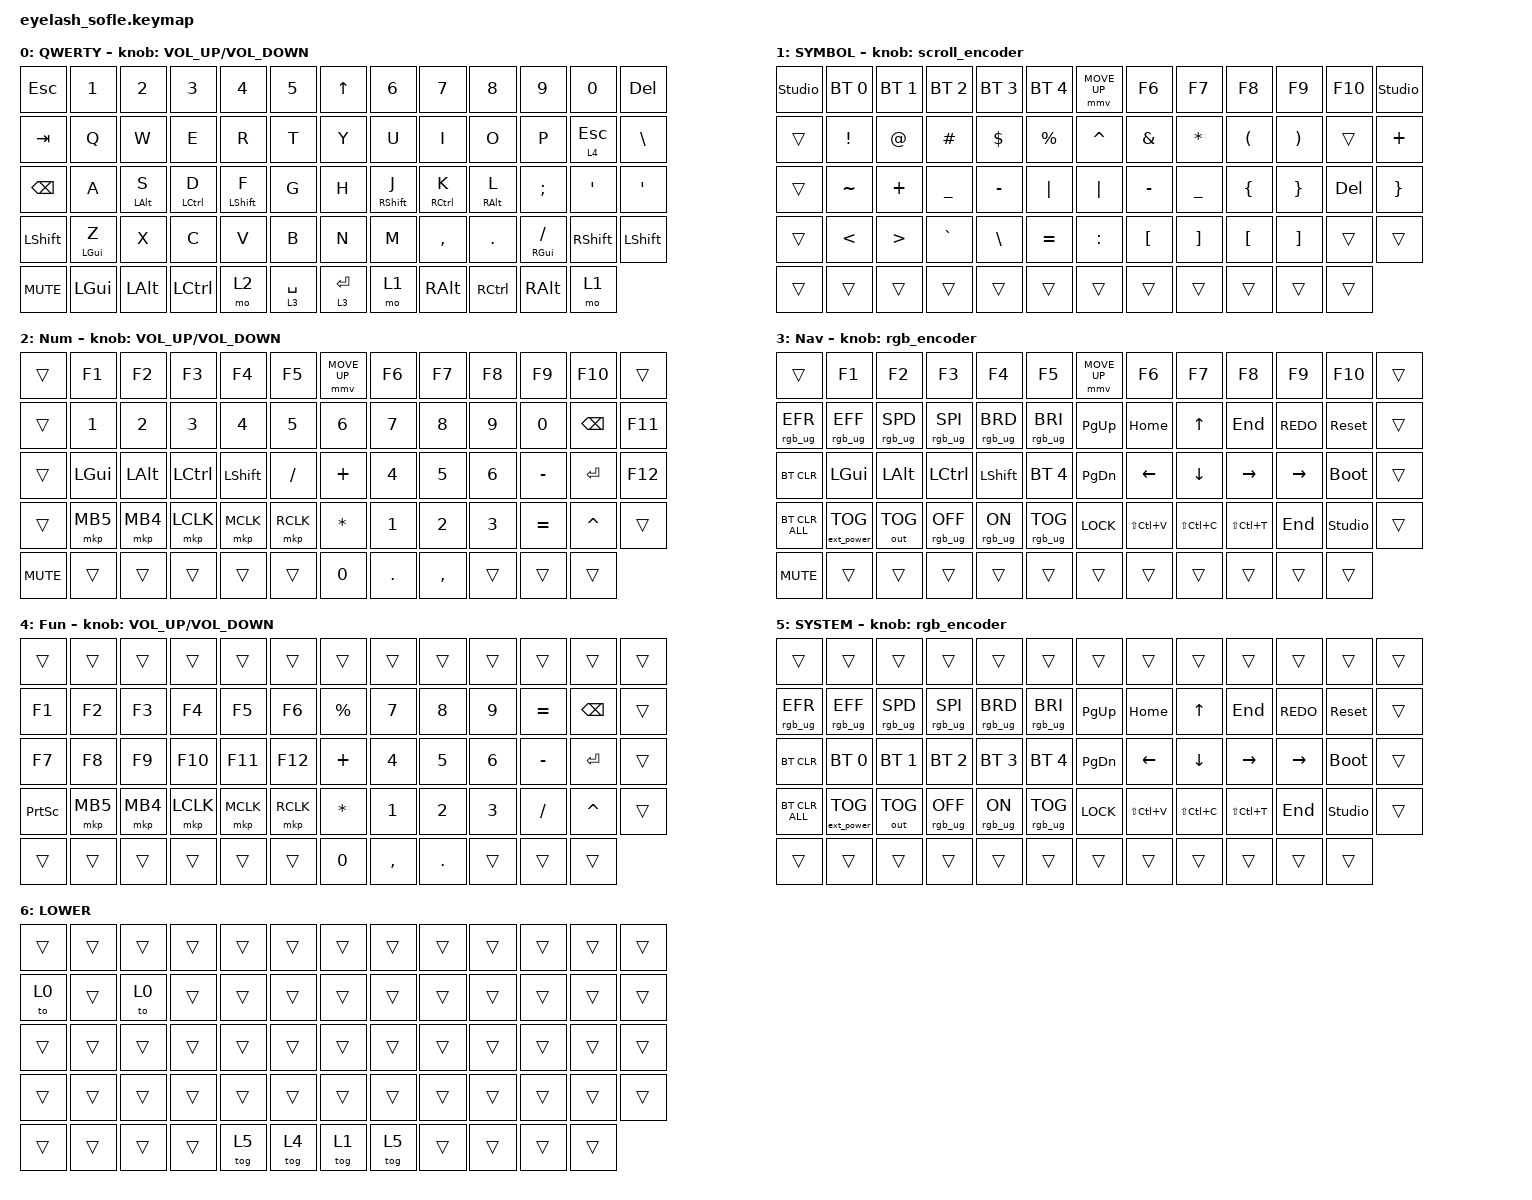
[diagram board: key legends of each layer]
#include <input/processors.dtsi>
#include <behaviors.dtsi>
#include <dt-bindings/zmk/bt.h>
#include <dt-bindings/zmk/ext_power.h>
#include <dt-bindings/zmk/keys.h>
#include <dt-bindings/zmk/outputs.h>
#include <dt-bindings/zmk/pointing.h>
#include <dt-bindings/zmk/rgb.h>

/*

   &mmv_input_listener {
       input-processors = <&zip_xy_scaler 2 1>;
   };

   &msc_input_listener {
       input-processors = <&zip_xy_scaler 2 1>;
   };

 */

/* pointing.h already defines these; undef first to avoid a redefinition warning */
#undef ZMK_POINTING_DEFAULT_MOVE_VAL
#undef ZMK_POINTING_DEFAULT_SCRL_VAL

#define ZMK_POINTING_DEFAULT_MOVE_VAL 1200  // 600
#define ZMK_POINTING_DEFAULT_SCRL_VAL 20    // 10

/ {
    conditional_layers {
        compatible = "zmk,conditional-layers";

        system_layer {
            // Num + symbol held together -> system
            if-layers = <2 1>;
            then-layer = <5>;
        };
    };

    behaviors {
        td0: td0 {
            compatible = "zmk,behavior-tap-dance";
            display-name = "Shift/Caps Lock Tap Dance";
            #binding-cells = <0>;
            bindings = <&kp LEFT_SHIFT>, <&kp CAPS>;
        };

        hrm_left: hrm_left {
            compatible = "zmk,behavior-hold-tap";
            label = "HRM_LEFT";
            bindings = <&kp>, <&kp>;

            #binding-cells = <2>;
            flavor = "balanced";
            tapping-term-ms = <280>;
            quick-tap-ms = <175>;
            require-prior-idle-ms = <175>;
            hold-trigger-on-release;
            hold-trigger-key-positions = <19 20 21 22 23 24 32 33 34 35 36 37 45 46 47 48 49 50 55 56 57 58 59 60>;
        };

        hrm_right: hrm_right {
            compatible = "zmk,behavior-hold-tap";
            label = "HRM_RIGHT";
            bindings = <&kp>, <&kp>;

            #binding-cells = <2>;
            flavor = "balanced";
            tapping-term-ms = <280>;
            quick-tap-ms = <175>;
            require-prior-idle-ms = <175>;
            hold-trigger-on-release;
            hold-trigger-key-positions = <13 14 15 16 17 18 26 27 28 29 30 31 39 40 41 42 43 44 55 56 57 58 59 60>;
        };

        layer_tap: layer_tap {
            compatible = "zmk,behavior-hold-tap";
            label = "LAYER_TAP";
            bindings = <&mo>, <&kp>;

            #binding-cells = <2>;
            quick-tap-ms = <175>;
            flavor = "tap-preferred";
            tapping-term-ms = <280>;
        };
    };

    rgb_encoder: rgb_encoder {
        compatible = "zmk,behavior-sensor-rotate";
        #sensor-binding-cells = <0>;
        bindings = <&rgb_ug RGB_BRI>, <&rgb_ug RGB_BRD>;
    };

    scroll_encoder: scroll_encoder {
        compatible = "zmk,behavior-sensor-rotate";
        #sensor-binding-cells = <0>;
        bindings = <&msc SCRL_DOWN>, <&msc SCRL_UP>;

        tap-ms = <30>;
    };

    combos {
        compatible = "zmk,combos";

        combo_lbrc {
            timeout-ms = <50>;
            key-positions = <4 5>; // KP: VB
            bindings = <&mt RBRC LBRC>;
            layers = <0 1 2 3 4 5>;
        };

        combo_rbrc {
            timeout-ms = <50>;
            key-positions = <6 7>; // KP: NM
            bindings = <&kp RBRC>;
            layers = <0 1 2 3 4 5>;
        };

        combo_lpar {
            timeout-ms = <50>;
            key-positions = <16 17>; // KP: FG
            bindings = <&mt RPAR LPAR>;
            layers = <0 1 2 3 4 5>;
        };

        combo_rpar {
            timeout-ms = <50>;
            key-positions = <18 19>;
            bindings = <&kp RPAR>;
            layers = <0 1 2 3 4 5>;
        };

        combo_lbkt {
            timeout-ms = <50>;
            key-positions = <28 29>; // KP: RT
            bindings = <&mt RBKT LBKT>;
            layers = <0 1 2 3 4 5>;
        };

        combo_rbkt {
            timeout-ms = <50>;
            key-positions = <30 31>; // KP: YU
            bindings = <&kp RBKT>;
            layers = <0 1 2 3 4 5>;
        };

        esc {
            timeout-ms = <50>;
            key-positions = <0 1>;
            bindings = <&kp ESC>; // ESC
            layers = <0>;
        };

        up {
            bindings = <&kp UP>;
            key-positions = <3 4>;
            layers = <0>;
            timeout-ms = <50>;
        };

        down {
            bindings = <&kp DOWN>;
            key-positions = <27 28>;
            timeout-ms = <50>;
            layers = <0>;
        };

        left {
            bindings = <&kp LEFT>;
            key-positions = <14 15>;
            layers = <0>;
            timeout-ms = <50>;
        };

        right {
            bindings = <&kp RIGHT>;
            key-positions = <15 16>;
            layers = <0>;
            timeout-ms = <50>;
        };
    };

    keymap {
        compatible = "zmk,keymap";

        qwerty {
            display-name = "QWERTY";
            bindings = <
  &kp ESC  &kp N1  &kp N2  &kp N3  &kp N4  &kp N5  &kp UP_ARROW  &kp N6  &kp N7  &kp N8  &kp N9  &kp N0  &kp DELETE
  &kp TAB  &kp Q  &kp W  &kp E  &kp R  &kp T  &kp Y  &kp U  &kp I  &kp O  &kp P  &lt 4 ESC  &kp BSLH
  &kp BACKSPACE  &kp A  &hrm_left LALT S  &hrm_left LCTRL D  &hrm_left LSHFT F  &kp G  &kp H  &hrm_right RSHFT J  &hrm_right RCTRL K  &hrm_right RALT L  &kp SEMICOLON  &kp SQT  &kp APOS
  &kp LEFT_SHIFT  &hrm_left LEFT_GUI Z  &kp X  &kp C  &kp V  &kp B  &kp N  &kp M  &kp COMMA  &kp DOT  &hrm_right RIGHT_GUI SLASH  &kp RIGHT_SHIFT  &kp LEFT_SHIFT
  &kp C_MUTE  &kp LEFT_GUI  &kp LEFT_ALT  &kp LEFT_CONTROL  &mo 2  &layer_tap 3 SPACE  &layer_tap 3 ENTER  &mo 1  &kp RIGHT_ALT  &kp RIGHT_CONTROL  &kp RIGHT_ALT  &mo 1
            >;
            sensor-bindings = <&inc_dec_kp C_VOLUME_UP C_VOLUME_DOWN>;
        };

        symbol {
            label = "SYMBOL";
            bindings = <
  &studio_unlock  &bt BT_SEL 0  &bt BT_SEL 1  &bt BT_SEL 2  &bt BT_SEL 3  &bt BT_SEL 4  &mmv MOVE_UP  &kp F6  &kp F7  &kp F8  &kp F9  &kp F10  &studio_unlock
  &trans  &kp EXCLAMATION  &kp AT_SIGN  &kp HASH  &kp DOLLAR  &kp PERCENT  &kp CARET  &kp AMPERSAND  &kp ASTERISK  &kp LEFT_PARENTHESIS  &kp RIGHT_PARENTHESIS  &trans  &kp PLUS
  &trans  &kp TILDE  &kp PLUS  &kp UNDERSCORE  &kp MINUS  &kp PIPE  &kp PIPE  &kp MINUS  &kp UNDERSCORE  &kp LEFT_BRACE  &kp RIGHT_BRACE  &kp DELETE  &kp RBRC
  &trans  &kp LESS_THAN  &kp GREATER_THAN  &kp GRAVE  &kp BACKSLASH  &kp EQUAL  &kp COLON  &kp LEFT_BRACKET  &kp RIGHT_BRACKET  &kp LEFT_BRACKET  &kp RIGHT_BRACKET  &trans  &trans
  &trans  &trans  &trans  &trans  &trans  &trans  &trans  &trans  &trans  &trans  &trans  &trans
            >;
            sensor-bindings = <&scroll_encoder>;
        };

        Num {
            label = "Num";
            bindings = <
  &trans  &kp F1  &kp F2  &kp F3  &kp F4  &kp F5  &mmv MOVE_UP  &kp F6  &kp F7  &kp F8  &kp F9  &kp F10  &trans
  &trans  &kp N1  &kp N2  &kp N3  &kp N4  &kp N5  &kp N6  &kp N7  &kp N8  &kp N9  &kp N0  &kp BACKSPACE  &kp F11
  &trans  &kp LEFT_GUI  &kp LEFT_ALT  &kp LEFT_CONTROL  &kp LEFT_SHIFT  &kp SLASH  &kp PLUS  &kp N4  &kp N5  &kp N6  &kp MINUS  &kp ENTER  &kp F12
  &trans  &mkp MB5  &mkp MB4  &mkp LCLK  &mkp MCLK  &mkp RCLK  &kp ASTERISK  &kp N1  &kp N2  &kp N3  &kp EQUAL  &kp CARET  &trans
  &kp C_MUTE  &trans  &trans  &trans  &trans  &trans  &kp N0  &kp PERIOD  &kp COMMA  &trans  &trans  &trans
            >;
            sensor-bindings = <&inc_dec_kp C_VOLUME_UP C_VOLUME_DOWN>;
        };

        Nav {
            display-name = "Nav";
            bindings = <
  &trans  &kp F1  &kp F2  &kp F3  &kp F4  &kp F5  &mmv MOVE_UP  &kp F6  &kp F7  &kp F8  &kp F9  &kp F10  &trans
  &rgb_ug RGB_EFR  &rgb_ug RGB_EFF  &rgb_ug RGB_SPD  &rgb_ug RGB_SPI  &rgb_ug RGB_BRD  &rgb_ug RGB_BRI  &kp PAGE_UP  &kp HOME  &kp UP_ARROW  &kp END  &kp K_REDO  &sys_reset  &trans
  &bt BT_CLR  &kp LEFT_GUI  &kp LEFT_ALT  &kp LEFT_CONTROL  &kp LEFT_SHIFT  &bt BT_SEL 4  &kp PAGE_DOWN  &kp LEFT_ARROW  &kp DOWN_ARROW  &kp RIGHT  &kp RIGHT  &bootloader  &trans
  &bt BT_CLR_ALL  &ext_power EP_TOG  &out OUT_TOG  &rgb_ug RGB_OFF  &rgb_ug RGB_ON  &rgb_ug RGB_TOG  &kp K_LOCK  &kp LS(LC(V))  &kp LS(LC(C))  &kp LS(LC(T))  &kp END  &studio_unlock  &trans
  &kp C_MUTE  &trans  &trans  &trans  &trans  &trans  &trans  &trans  &trans  &trans  &trans  &trans
            >;
            sensor-bindings = <&rgb_encoder>;
        };

        Fun {
            label = "Fun";
            bindings = <
  &trans  &trans  &trans  &trans  &trans  &trans  &trans  &trans  &trans  &trans  &trans  &trans  &trans
  &kp F1  &kp F2  &kp F3  &kp F4  &kp F5  &kp F6  &kp PERCENT  &kp N7  &kp N8  &kp N9  &kp EQUAL  &kp BACKSPACE  &trans
  &kp F7  &kp F8  &kp F9  &kp F10  &kp F11  &kp F12  &kp PLUS  &kp N4  &kp N5  &kp N6  &kp MINUS  &kp ENTER  &trans
  &kp PRINTSCREEN  &mkp MB5  &mkp MB4  &mkp LCLK  &mkp MCLK  &mkp RCLK  &kp ASTERISK  &kp N1  &kp N2  &kp N3  &kp FSLH  &kp CARET  &trans
  &trans  &trans  &trans  &trans  &trans  &trans  &kp N0  &kp COMMA  &kp DOT  &trans  &trans  &trans
            >;
            sensor-bindings = <&inc_dec_kp C_VOLUME_UP C_VOLUME_DOWN>;
        };

        system {
            display-name = "SYSTEM";
            bindings = <
  &trans  &trans  &trans  &trans  &trans  &trans  &trans  &trans  &trans  &trans  &trans  &trans  &trans
  &rgb_ug RGB_EFR  &rgb_ug RGB_EFF  &rgb_ug RGB_SPD  &rgb_ug RGB_SPI  &rgb_ug RGB_BRD  &rgb_ug RGB_BRI  &kp PAGE_UP  &kp HOME  &kp UP_ARROW  &kp END  &kp K_REDO  &sys_reset  &trans
  &bt BT_CLR  &bt BT_SEL 0  &bt BT_SEL 1  &bt BT_SEL 2  &bt BT_SEL 3  &bt BT_SEL 4  &kp PAGE_DOWN  &kp LEFT_ARROW  &kp DOWN_ARROW  &kp RIGHT  &kp RIGHT  &bootloader  &trans
  &bt BT_CLR_ALL  &ext_power EP_TOG  &out OUT_TOG  &rgb_ug RGB_OFF  &rgb_ug RGB_ON  &rgb_ug RGB_TOG  &kp K_LOCK  &kp LS(LC(V))  &kp LS(LC(C))  &kp LS(LC(T))  &kp END  &studio_unlock  &trans
  &trans  &trans  &trans  &trans  &trans  &trans  &trans  &trans  &trans  &trans  &trans  &trans
            >;
            sensor-bindings = <&rgb_encoder>;
        };

        lower {
            label = "LOWER";
            bindings = <
  &trans  &trans  &trans  &trans  &trans  &trans  &trans  &trans  &trans  &trans  &trans  &trans  &trans
  &to 0  &trans  &to 0  &trans  &trans  &trans  &trans  &trans  &trans  &trans  &trans  &trans  &trans
  &trans  &trans  &trans  &trans  &trans  &trans  &trans  &trans  &trans  &trans  &trans  &trans  &trans
  &trans  &trans  &trans  &trans  &trans  &trans  &trans  &trans  &trans  &trans  &trans  &trans  &trans
  &trans  &trans  &trans  &trans  &tog 5  &tog 4  &tog 1  &tog 5  &trans  &trans  &trans  &trans
            >;
        };

    };
};
